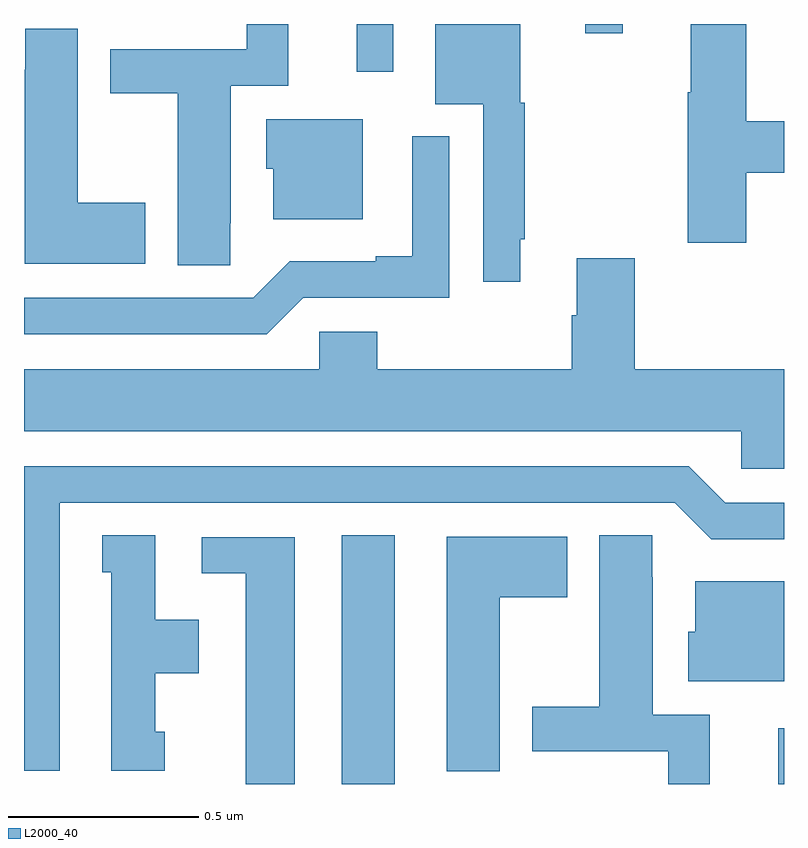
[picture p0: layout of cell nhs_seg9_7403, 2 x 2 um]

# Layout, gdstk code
import gdstk
lib = gdstk.Library(unit=1e-6, precision=1e-09)
def R(c, l, rs):  # rectangles x0, y0, x1, y1
    for r in rs: c.add(gdstk.rectangle(r[:2], r[2:], *l))
def P(c, l, *ps):  # polygons
    for p in ps: c.add(gdstk.Polygon(p, *l))
L2000_40 = (2000, 40)

nhs_seg9_7403 = lib.new_cell('nhs_seg9_7403')
R(nhs_seg9_7403, L2000_40, [(204.836,1187.5,204.976,1188.155), (205.985,1187.5,206,1187.647), (204.875,1189.374,204.972,1189.5), (205.477,1189.476,205.576,1189.5)])
P(nhs_seg9_7403, L2000_40, [(204.543,1188.976),(204.544,1188.976),(204.544,1189.338),(204.695,1189.338),(204.695,1189.5),(204.586,1189.5),(204.586,1189.434),(204.227,1189.434),(204.227,1189.318),(204.404,1189.318),(204.404,1188.865),(204.543,1188.865)],
  [(205.306,1188.934),(205.318,1188.934),(205.318,1189.293),(205.306,1189.293),(205.306,1189.5),(205.082,1189.5),(205.082,1189.289),(205.209,1189.289),(205.209,1188.822),(205.306,1188.822)],
  [(205.901,1189.108),(206,1189.108),(206,1189.244),(205.901,1189.244),(205.901,1189.5),(205.754,1189.5),(205.754,1189.321),(205.747,1189.321),(205.747,1188.924),(205.901,1188.924)],
  [(204.319,1189.029),(204.142,1189.029),(204.142,1189.487),(204.003,1189.487),(204.003,1189.379),(204.002,1189.379),(204.002,1188.869),(204.319,1188.869)],
  [(204.892,1189.249),(204.638,1189.249),(204.638,1189.119),(204.656,1189.119),(204.656,1188.986),(204.892,1188.986)],
  [(204.735,1188.78),(205.119,1188.78),(205.119,1189.204),(205.022,1189.204),(205.022,1188.889),(204.926,1188.889),(204.926,1188.876),(204.699,1188.876),(204.603,1188.78),(204,1188.78),(204,1188.684),(204.639,1188.684)],
  [(206,1188.592),(205.607,1188.592),(205.607,1188.883),(205.454,1188.883),(205.454,1188.734),(205.442,1188.734),(205.442,1188.592),(204.929,1188.592),(204.929,1188.69),(204.777,1188.69),(204.777,1188.592),(204,1188.592),(204,1188.428),(205.887,1188.428),(205.887,1188.33),(206,1188.33)],
  [(204.094,1188.24),(205.713,1188.24),(205.809,1188.144),(206,1188.144),(206,1188.24),(205.845,1188.24),(205.749,1188.336),(204,1188.336),(204,1187.535),(204.094,1187.535)],
  [(205.805,1187.682),(205.654,1187.682),(205.654,1188.044),(205.653,1188.044),(205.653,1188.155),(205.514,1188.155),(205.514,1187.703),(205.337,1187.703),(205.337,1187.586),(205.696,1187.586),(205.696,1187.5),(205.805,1187.5)],
  [(204.37,1187.637),(204.346,1187.637),(204.346,1187.792),(204.46,1187.792),(204.46,1187.932),(204.346,1187.932),(204.346,1188.155),(204.206,1188.155),(204.206,1188.057),(204.23,1188.057),(204.23,1187.535),(204.37,1187.535)],
  [(205.252,1187.992),(205.429,1187.992),(205.429,1188.151),(205.112,1188.151),(205.112,1187.641),(205.113,1187.641),(205.113,1187.533),(205.252,1187.533)],
  [(204.712,1188.15),(204.468,1188.15),(204.468,1188.054),(204.584,1188.054),(204.584,1187.5),(204.712,1187.5)],
  [(206,1188.034),(205.766,1188.034),(205.766,1187.901),(205.748,1187.901),(205.748,1187.771),(206,1187.771)])

lib.write_gds('nhs_seg9_7403.gds')
